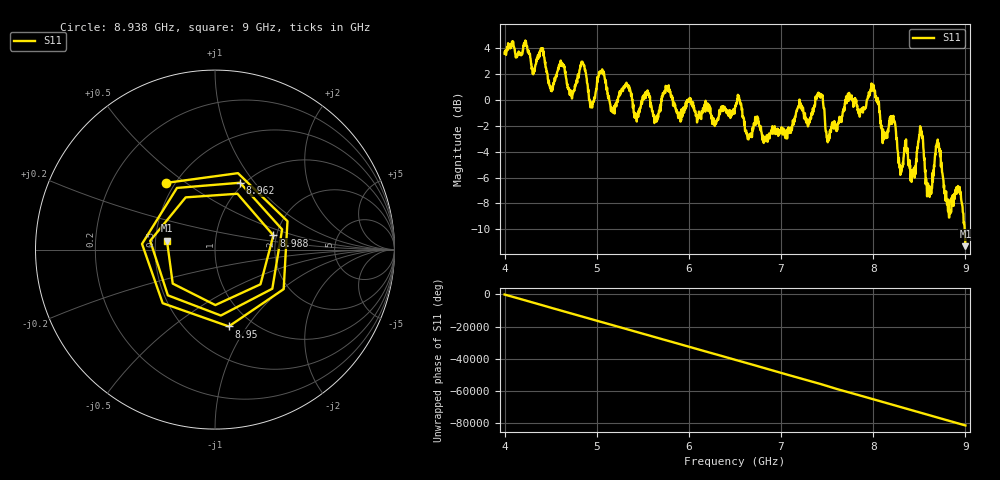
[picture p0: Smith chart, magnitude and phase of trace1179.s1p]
! Created with skrf 1.8.0 (http://scikit-rf.org).
# Hz S RI R 50.0
!freq ReS11 ImS11
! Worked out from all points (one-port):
!   1601 points, 4 GHz to 9 GHz, reference 50 ohm
!   lowest |S11| = -11.3 dB at 9 GHz (marker M1), VSWR 1.75, Z = 28.8 + j3.09 ohm
!   |S11| at or under -10 dB: 8.991772 GHz to end of sweep
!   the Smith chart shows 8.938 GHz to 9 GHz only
!   S11 on the Smith chart (normalised r, x): 8.938 GHz: 0.45, +0.42; 8.95 GHz: 0.78, -0.83; 8.962 GHz: 0.96, +0.85; 8.988 GHz: 1.92, +0.34; 9 GHz: 0.58, +0.06
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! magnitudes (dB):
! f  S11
! 4 GHz  3.6
! 4.406 GHz  3.9
! 4.509 GHz  0.7
! 4.625 GHz  2.9
! 4.722 GHz  0.4
! 4.841 GHz  2.8
! 4.941 GHz  -0.5
! 5.25 GHz  0.7
! 5.875 GHz  -1.0
! 6.5 GHz  -0.6
! 6.65 GHz  -2.7
! 7.125 GHz  -1.9
! 7.425 GHz  0.4
! 7.516 GHz  -3.1
! 7.75 GHz  0.3
! 7.994 GHz  1.0
! 8.112 GHz  -2.7
! 8.375 GHz  -4.2
! 8.434 GHz  -5.6
! 8.519 GHz  -2.4
! 8.609 GHz  -6.6
! 8.706 GHz  -3.5
! 8.822 GHz  -9.1
! 8.938 GHz  -6.7
! 8.95 GHz  -7.2
! 8.962 GHz  -8.0
! 8.988 GHz  -9.5
! 9 GHz  -11.3
